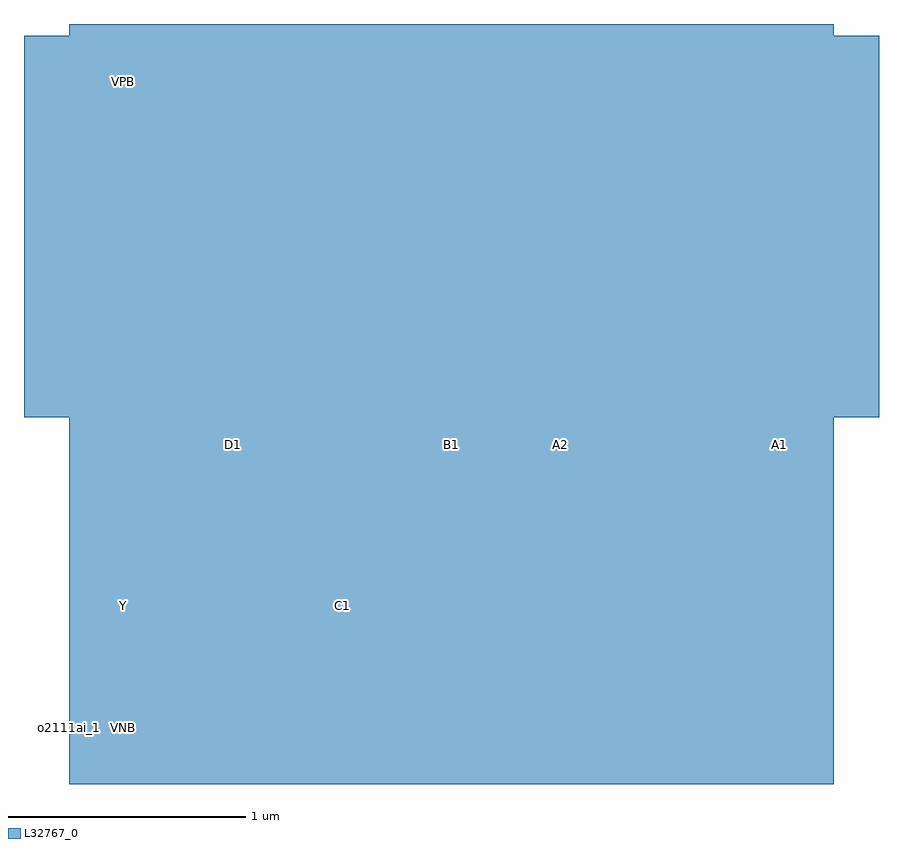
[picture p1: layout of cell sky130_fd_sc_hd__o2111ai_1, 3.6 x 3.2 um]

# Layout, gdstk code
import gdstk
lib = gdstk.Library(unit=1e-6, precision=1e-09)
def R(c, l, rs):  # rectangles x0, y0, x1, y1
    for r in rs: c.add(gdstk.rectangle(r[:2], r[2:], *l))
def A(c, l, x, y, w, h, nx, ny, dx, dy):  # array of equal rectangles
    R(c, l, [(x+i*dx, y+j*dy, x+i*dx+w, y+j*dy+h) for i in range(nx) for j in range(ny)])
def P(c, l, *ps):  # polygons
    for p in ps: c.add(gdstk.Polygon(p, *l))
L32767_0 = (32767, 0)

sky130_fd_sc_hd__o2111ai = lib.new_cell('sky130_fd_sc_hd__o2111ai_1')
A(sky130_fd_sc_hd__o2111ai, L32767_0, 0.145, -0.085, 0.17, 0.17, 7, 2, 0.46, 2.72)
A(sky130_fd_sc_hd__o2111ai, L32767_0, 0.565, 1.075, 0.17, 0.17, 3, 1, 0.54, 0)
A(sky130_fd_sc_hd__o2111ai, L32767_0, 0.605, 1.445, 0.17, 0.17, 4, 1, 0.46, 0)
R(sky130_fd_sc_hd__o2111ai, L32767_0, [(0,-0.19,3.22,1.015), (0.145,-0.085,0.315,0.085), (0.145,-0.085,0.315,0.085), (0,0,3.22,2.72), (0,0,3.22,2.72), (0.4,0.235,3.075,0.885), (1.025,0.255,1.355,1.615), (2.365,0.285,2.535,0.455), (0.44,0.315,0.61,0.485), (1.845,0.315,2.015,0.485), (2.865,0.315,3.035,0.485), (0.145,0.425,0.315,0.595), (1.065,0.425,1.235,0.595), (0.44,0.655,0.61,0.825), (1.845,0.655,2.015,0.825), (2.865,0.655,3.035,0.825), (0,0.975,3.22,1.345), (1.525,0.995,1.815,1.615), (2.785,1.005,3.115,1.615), (2.81,1.015,3.115,1.025), (0.485,1.075,0.815,1.615), (2.2,1.075,2.37,1.245), (2.865,1.075,3.035,1.245), (0.605,1.105,0.775,1.275), (1.525,1.105,1.695,1.275), (1.985,1.105,2.155,1.275), (2.905,1.105,3.075,1.275), (0,1.25,3.22,2.72), (2.81,1.295,3.115,1.305), (-0.19,1.305,3.41,2.91), (0,1.355,3.22,2.91), (0.33,1.485,3.075,2.485), (0.145,1.785,0.315,1.955), (2.865,1.795,3.035,1.965), (0.8,1.8,0.97,1.97), (1.845,1.8,2.015,1.97), (2.445,2.125,2.615,2.295), (0.8,2.215,0.97,2.385), (0.37,2.255,0.54,2.425), (1.29,2.255,1.46,2.425), (1.845,2.255,2.015,2.425), (2.865,2.255,3.035,2.425), (0.145,2.635,0.315,2.805), (0.145,2.635,0.315,2.805)])
P(sky130_fd_sc_hd__o2111ai, L32767_0, [(0.815,1.295),(0.745,1.295),(0.745,2.615),(0.595,2.615),(0.595,1.295),(0.485,1.295),(0.485,1.025),(0.665,1.025),(0.665,0.105),(0.815,0.105)],
  [(1.355,1.295),(1.175,1.295),(1.175,2.615),(1.025,2.615),(1.025,0.105),(1.175,0.105),(1.175,1.025),(1.355,1.025)],
  [(1.895,1.295),(1.715,1.295),(1.715,2.615),(1.565,2.615),(1.565,0.105),(1.715,0.105),(1.715,1.025),(1.895,1.025)],
  [(2.45,1.295),(2.27,1.295),(2.27,2.615),(2.12,2.615),(2.12,0.105),(2.27,0.105),(2.27,1.025),(2.45,1.025)],
  [(3.115,1.295),(2.81,1.295),(2.81,2.615),(2.66,2.615),(2.66,0.105),(2.81,0.105),(2.81,1.025),(3.115,1.025)],
  [(3.22,0.085),(2.615,0.085),(2.615,0.455),(2.285,0.455),(2.285,0.085),(0,0.085),(0,-0.085),(3.22,-0.085)],
  [(3.22,2.805),(0,2.805),(0,2.635),(0.29,2.635),(0.29,2.195),(0.62,2.195),(0.62,2.635),(1.21,2.635),(1.21,2.255),(1.54,2.255),(1.54,2.635),(2.785,2.635),(2.785,1.795),(3.115,1.795),(3.115,2.635),(3.22,2.635)],
  [(3.115,0.825),(1.75,0.825),(1.75,0.255),(2.095,0.255),(2.095,0.625),(2.785,0.625),(2.785,0.255),(3.115,0.255)],
  [(2.095,2.465),(1.75,2.465),(1.75,2.025),(1.025,2.025),(1.025,2.465),(0.79,2.465),(0.79,2.025),(0.085,2.025),(0.085,0.255),(0.69,0.255),(0.69,0.885),(0.315,0.885),(0.315,1.785),(2.095,1.785)],
  [(2.615,2.37),(2.27,2.37),(2.27,1.615),(1.985,1.615),(1.985,0.995),(2.615,0.995)])
sky130_fd_sc_hd__o2111ai.add(gdstk.FlexPath([(0,2.72),(3.22,2.72)], 0.48, ends="flush", simple_path=True, layer=32767, datatype=0))  # L32767_0
sky130_fd_sc_hd__o2111ai.add(gdstk.FlexPath([(0,0),(3.22,0)], 0.48, ends="flush", simple_path=True, layer=32767, datatype=0))  # L32767_0
sky130_fd_sc_hd__o2111ai.add(gdstk.Label('D1', (0.69,1.19), layer=32767, texttype=5))
sky130_fd_sc_hd__o2111ai.add(gdstk.Label('C1', (1.15,0.51), layer=32767, texttype=5))
sky130_fd_sc_hd__o2111ai.add(gdstk.Label('A2', (2.07,1.19), layer=32767, texttype=5))
sky130_fd_sc_hd__o2111ai.add(gdstk.Label('A1', (2.99,1.19), layer=32767, texttype=5))
sky130_fd_sc_hd__o2111ai.add(gdstk.Label('B1', (1.61,1.19), layer=32767, texttype=5))
sky130_fd_sc_hd__o2111ai.add(gdstk.Label('Y', (0.23,0.51), layer=32767, texttype=5))
sky130_fd_sc_hd__o2111ai.add(gdstk.Label('VPB', (0.23,2.72), layer=32767, texttype=5))
sky130_fd_sc_hd__o2111ai.add(gdstk.Label('VNB', (0.23,0), layer=32767, texttype=59))
sky130_fd_sc_hd__o2111ai.add(gdstk.Label('VGND', (0.23,0), layer=32767, texttype=5))
sky130_fd_sc_hd__o2111ai.add(gdstk.Label('VPWR', (0.23,2.72), layer=32767, texttype=5))
sky130_fd_sc_hd__o2111ai.add(gdstk.Label('o2111ai_1', (0,0), layer=32767, texttype=44))

lib.write_gds('sky130_fd_sc_hd__o2111ai_1.gds')
